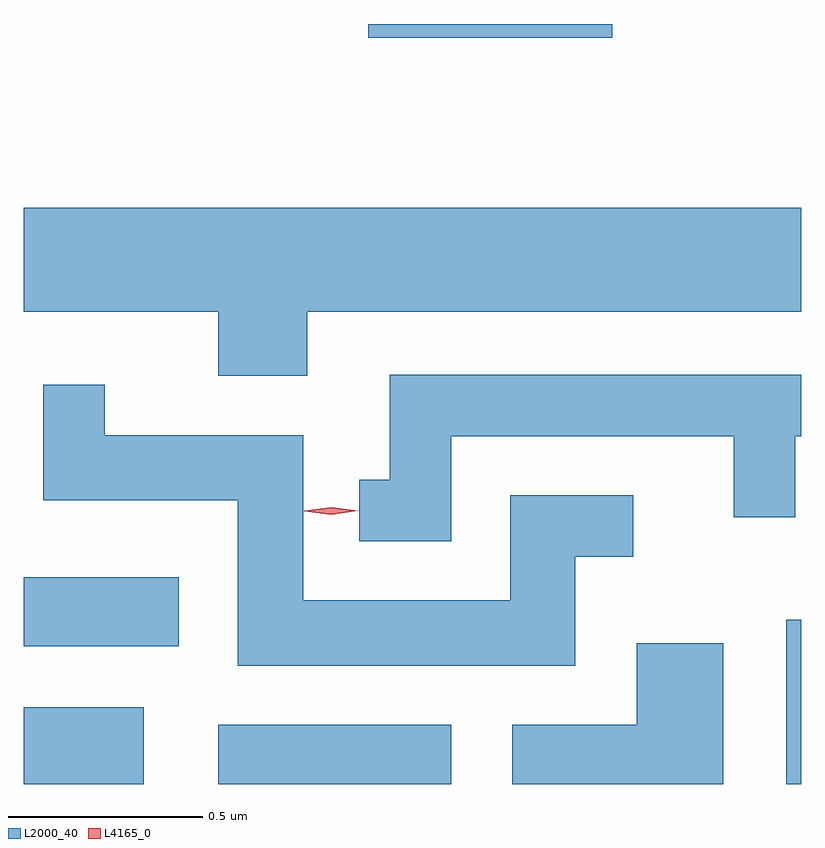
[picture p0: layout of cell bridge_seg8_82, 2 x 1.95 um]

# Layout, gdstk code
import gdstk
lib = gdstk.Library(unit=1e-6, precision=1e-09)
def R(c, l, rs):  # rectangles x0, y0, x1, y1
    for r in rs: c.add(gdstk.rectangle(r[:2], r[2:], *l))
def P(c, l, *ps):  # polygons
    for p in ps: c.add(gdstk.Polygon(p, *l))
L2000_40 = (2000, 40)
L4165_0 = (4165, 0)

bridge_seg8_82 = lib.new_cell('bridge_seg8_82')
R(bridge_seg8_82, L2000_40, [(1620.01,1806.342,1620.319,1806.539), (1620.511,1806.342,1621.109,1806.494), (1621.971,1806.342,1622.01,1806.764), (1620.01,1806.696,1620.409,1806.874), (1620.896,1808.261,1621.524,1808.296)])
P(bridge_seg8_82, L2000_40, [(1620.739,1807.556),(1622.01,1807.556),(1622.01,1807.824),(1620.01,1807.824),(1620.01,1807.556),(1620.511,1807.556),(1620.511,1807.391),(1620.739,1807.391)],
  [(1621.109,1807.236),(1621.836,1807.236),(1621.836,1807.028),(1621.994,1807.028),(1621.994,1807.236),(1622.01,1807.236),(1622.01,1807.394),(1620.951,1807.394),(1620.951,1807.124),(1620.873,1807.124),(1620.873,1806.966),(1621.109,1806.966)],
  [(1621.429,1806.926),(1621.578,1806.926),(1621.578,1807.084),(1621.261,1807.084),(1621.261,1806.814),(1620.729,1806.814),(1620.729,1807.239),(1620.219,1807.239),(1620.219,1807.368),(1620.061,1807.368),(1620.061,1807.071),(1620.561,1807.071),(1620.561,1806.646),(1621.429,1806.646)],
  [(1621.809,1806.704),(1621.586,1806.704),(1621.586,1806.494),(1621.266,1806.494),(1621.266,1806.342),(1621.809,1806.342)])
P(bridge_seg8_82, L4165_0, [(1620.801,1807.034),(1620.732,1807.043),(1620.732,1807.044),(1620.732,1807.044),(1620.801,1807.054),(1620.871,1807.045),(1620.871,1807.045),(1620.871,1807.044)])

lib.write_gds('bridge_seg8_82.gds')
